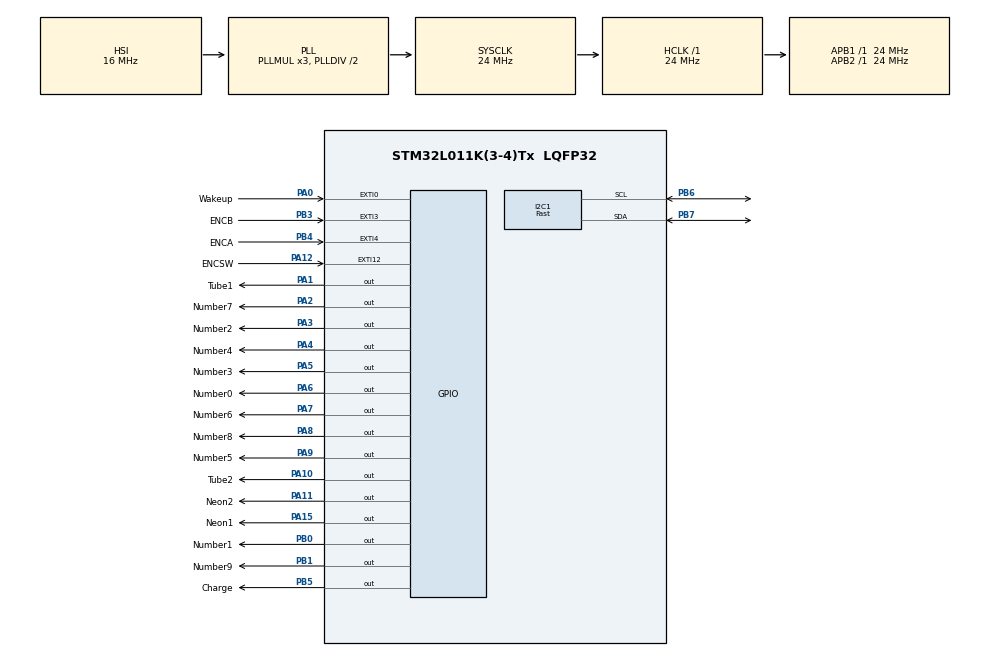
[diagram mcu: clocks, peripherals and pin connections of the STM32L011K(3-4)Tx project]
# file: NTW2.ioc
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I2C1.I2C_Speed_Mode=I2C_Fast
I2C1.Timing=0x00200C28
Mcu.Family=STM32L0
Mcu.Name=STM32L011K(3-4)Tx
Mcu.Package=LQFP32
NVIC.EXTI0_1_IRQn=true\:0\:0\:false\:false\:true\:true
NVIC.EXTI2_3_IRQn=true\:0\:0\:false\:false\:true\:true
NVIC.EXTI4_15_IRQn=true\:0\:0\:false\:false\:true\:true
NVIC.TIM21_IRQn=true\:0\:0\:false\:false\:true\:true
PA0-CK_IN.GPIO_Label=Wakeup
PA0-CK_IN.GPIO_PuPd=GPIO_PULLUP
PA0-CK_IN.Signal=GPXTI0
PA1.GPIO_Label=Tube1
PA1.GPIO_PuPd=GPIO_PULLDOWN
PA1.Signal=GPIO_Output
PA10.GPIO_Label=Tube2
PA10.GPIO_PuPd=GPIO_PULLDOWN
PA10.Signal=GPIO_Output
PA11.GPIO_Label=Neon2
PA11.GPIO_PuPd=GPIO_PULLDOWN
PA11.Signal=GPIO_Output
PA12.GPIO_Label=ENCSW
PA12.GPIO_ModeDefaultEXTI=GPIO_MODE_IT_RISING
PA12.Signal=GPXTI12
PA13.Mode=Serial_Wire
PA13.Signal=SYS_SWDIO
PA14.Mode=Serial_Wire
PA14.Signal=SYS_SWCLK
PA15.GPIO_Label=Neon1
PA15.Signal=GPIO_Output
PA2.GPIO_Label=Number7
PA2.GPIO_PuPd=GPIO_PULLDOWN
PA2.Signal=GPIO_Output
PA3.GPIO_Label=Number2
PA3.GPIO_PuPd=GPIO_PULLDOWN
PA3.Signal=GPIO_Output
PA4.GPIO_Label=Number4
PA4.GPIO_PuPd=GPIO_PULLDOWN
PA4.Signal=GPIO_Output
PA5.GPIO_Label=Number3
PA5.GPIO_PuPd=GPIO_PULLDOWN
PA5.Signal=GPIO_Output
PA6.GPIO_Label=Number0
PA6.GPIO_PuPd=GPIO_PULLDOWN
PA6.Signal=GPIO_Output
PA7.GPIO_Label=Number6
PA7.GPIO_PuPd=GPIO_PULLDOWN
PA7.Signal=GPIO_Output
PA8.GPIO_Label=Number8
PA8.GPIO_PuPd=GPIO_PULLDOWN
PA8.Signal=GPIO_Output
PA9.GPIO_Label=Number5
PA9.GPIO_PuPd=GPIO_PULLDOWN
PA9.Signal=GPIO_Output
PB0.GPIO_Label=Number1
PB0.GPIO_PuPd=GPIO_PULLDOWN
PB0.Signal=GPIO_Output
PB1.GPIO_Label=Number9
PB1.GPIO_PuPd=GPIO_PULLDOWN
PB1.Signal=GPIO_Output
PB3.GPIO_Label=ENCB
PB3.GPIO_ModeDefaultEXTI=GPIO_MODE_IT_RISING_FALLING
PB3.Signal=GPXTI3
PB4.GPIO_Label=ENCA
PB4.GPIO_ModeDefaultEXTI=GPIO_MODE_IT_RISING_FALLING
PB4.Signal=GPXTI4
PB5.GPIO_Label=Charge
PB5.Signal=GPIO_Output
PB6.Mode=I2C
PB6.Signal=I2C1_SCL
PB7.Mode=I2C
PB7.Signal=I2C1_SDA
PC14-OSC32_IN.Mode=LSE-External-Oscillator
PC14-OSC32_IN.Signal=RCC_OSC32_IN
PC15-OSC32_OUT.Mode=LSE-External-Oscillator
PC15-OSC32_OUT.Signal=RCC_OSC32_OUT
ProjectManager.HeapSize=0x200
ProjectManager.StackSize=0x400
ProjectManager.TargetToolchain=SW4STM32
RCC.AHBFreq_Value=24000000
RCC.APB1Freq_Value=24000000
RCC.APB1TimFreq_Value=24000000
RCC.APB2Freq_Value=24000000
RCC.APB2TimFreq_Value=24000000
RCC.HCLKFreq_Value=24000000
RCC.HSE_VALUE=8000000
RCC.HSI16_VALUE=16000000
RCC.HSI_VALUE=16000000
RCC.MSI_VALUE=2097000
RCC.RTCClockSelection=RCC_RTCCLKSOURCE_LSE
RCC.RTCClockSelectionVirtual=RCC_RTCCLKSOURCE_LSE
RCC.SYSCLKFreq_VALUE=24000000
RCC.SYSCLKSource=RCC_SYSCLKSOURCE_PLLCLK
RCC.VCOOutputFreq_Value=48000000
TIM21.Period=999
TIM21.Prescaler=24000
VP_RTC_VS_RTC_Activate.Mode=RTC_Enabled
VP_RTC_VS_RTC_Calendar.Mode=RTC_Calendar
VP_TIM21_VS_ClockSourceINT.Mode=Internal
board=NTW2

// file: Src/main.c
/**
  ******************************************************************************
  * @file           : main.c
  * @brief          : Main program body
  ******************************************************************************
  ** This notice applies to any and all portions of this file
  * that are not between comment pairs USER CODE BEGIN and
  * USER CODE END. Other portions of this file, whether
  * inserted by the user or by software development tools
  * are owned by their respective copyright owners.
  *
  * COPYRIGHT(c) 2019 STMicroelectronics
  *
  * Redistribution and use in source and binary forms, with or without modification,
  * are permitted provided that the following conditions are met:
  *   1. Redistributions of source code must retain the above copyright notice,
  *      this list of conditions and the following disclaimer.
  *   2. Redistributions in binary form must reproduce the above copyright notice,
  *      this list of conditions and the following disclaimer in the documentation
  *      and/or other materials provided with the distribution.
  *   3. Neither the name of STMicroelectronics nor the names of its contributors
  *      may be used to endorse or promote products derived from this software
  *      without specific prior written permission.
  *
  * THIS SOFTWARE IS PROVIDED BY THE COPYRIGHT HOLDERS AND CONTRIBUTORS "AS IS"
  * AND ANY EXPRESS OR IMPLIED WARRANTIES, INCLUDING, BUT NOT LIMITED TO, THE
  * IMPLIED WARRANTIES OF MERCHANTABILITY AND FITNESS FOR A PARTICULAR PURPOSE ARE
  * DISCLAIMED. IN NO EVENT SHALL THE COPYRIGHT HOLDER OR CONTRIBUTORS BE LIABLE
  * FOR ANY DIRECT, INDIRECT, INCIDENTAL, SPECIAL, EXEMPLARY, OR CONSEQUENTIAL
  * DAMAGES (INCLUDING, BUT NOT LIMITED TO, PROCUREMENT OF SUBSTITUTE GOODS OR
  * SERVICES; LOSS OF USE, DATA, OR PROFITS; OR BUSINESS INTERRUPTION) HOWEVER
  * CAUSED AND ON ANY THEORY OF LIABILITY, WHETHER IN CONTRACT, STRICT LIABILITY,
  * OR TORT (INCLUDING NEGLIGENCE OR OTHERWISE) ARISING IN ANY WAY OUT OF THE USE
  * OF THIS SOFTWARE, EVEN IF ADVISED OF THE POSSIBILITY OF SUCH DAMAGE.
  *
  ******************************************************************************
  */
#include "main.h"
#include "stm32l0xx_hal.h"

I2C_HandleTypeDef hi2c1;

RTC_HandleTypeDef hrtc;

TIM_HandleTypeDef htim21;

/* USER CODE BEGIN PV */
/* Private variables ---------------------------------------------------------*/
/* USER CODE BEGIN Includes */
uint8_t A_Flag = 0;
uint8_t B_Flag = 0;
uint8_t HM_Flag = 0;
uint8_t Display_State = 0;
uint8_t HMTicks = 0;
uint8_t seconds = 0;
uint8_t minutes = 0;
uint8_t hours = 12;
uint8_t tx_buffer[10];
uint8_t rx_buffer[10];
uint8_t acc_buffer[6];
uint8_t gyro_buffer[6];
uint8_t success;
uint8_t readIMU_Flag = 0;

volatile uint8_t numbers[10][10] = {
								{1, 0, 0, 0, 0, 0, 0, 0, 0, 0},
								{0, 1, 0, 0, 0, 0, 0, 0, 0, 0},
								{0, 0, 1, 0, 0, 0, 0, 0, 0, 0},
								{0, 0, 0, 1, 0, 0, 0, 0, 0, 0},
								{0, 0, 0, 0, 1, 0, 0, 0, 0, 0},
								{0, 0, 0, 0, 0, 1, 0, 0, 0, 0},
								{0, 0, 0, 0, 0, 0, 1, 0, 0, 0},
								{0, 0, 0, 0, 0, 0, 0, 1, 0, 0},
								{0, 0, 0, 0, 0, 0, 0, 0, 1, 0},
								{0, 0, 0, 0, 0, 0, 0, 0, 0, 1}
								};

struct tube {

	uint8_t NUM0;
	uint8_t NUM1;
	uint8_t NUM2;
	uint8_t NUM3;
	uint8_t NUM4;
	uint8_t NUM5;
	uint8_t NUM6;
	uint8_t NUM7;
	uint8_t NUM8;
	uint8_t NUM9;
};

struct tube tube1;	//initializes structs for tubes
struct tube tube2;

uint8_t sleep_flag = 0;
/* USER CODE END PV */

void SystemClock_Config(void);
static void MX_GPIO_Init(void);
static void MX_RTC_Init(void);
static void MX_I2C1_Init(void);
static void MX_TIM21_Init(void);

/* USER CODE BEGIN PFP */
/* Private function prototypes -----------------------------------------------*/
void update_time(void);
void update_tubes(void);
void update_display(void);
uint8_t accelerometer_initialization(void);
void enter_Standby(void);
uint8_t write_Reg(uint8_t Reg, uint8_t data);
uint8_t read_Reg(uint8_t Reg, uint8_t *data, uint16_t length);
/* USER CODE END PFP */

int main(void)
{

  /* MCU Configuration----------------------------------------------------------*/

  /* Reset of all peripherals, Initializes the Flash interface and the Systick. */
  HAL_Init();

  /* Configure the system clock */
  SystemClock_Config();

  /* Initialize all configured peripherals */
  MX_GPIO_Init();
  MX_RTC_Init();
  MX_I2C1_Init();
  MX_TIM21_Init();
  /* USER CODE BEGIN 2 */
  HAL_TIM_Base_Start_IT(&htim21);
  accelerometer_initialization();
  /* USER CODE END 2 */

  /* Infinite loop */
  while (1)
  {

  /* USER CODE BEGIN 3 */

	  update_tubes();
	  update_display();

	  if(sleep_flag == 1)
	  {
		  sleep_flag = 0;
		  enter_Standby();
	  }

	  if(readIMU_Flag == 1)
	  {
		  success = read_Reg(0x0C, &gyro_buffer[0], 6);	//reads gyro xx yy zz
		  HAL_Delay(20);
		  success = read_Reg(0x12, &acc_buffer[0], 6);	//reads accelerometer xx yy zz
		  HAL_Delay(20);
		  readIMU_Flag = 0;
	  }

  }
  /* USER CODE END 3 */

}

void SystemClock_Config(void)
{

  RCC_OscInitTypeDef RCC_OscInitStruct;
  RCC_ClkInitTypeDef RCC_ClkInitStruct;
  RCC_PeriphCLKInitTypeDef PeriphClkInit;

    /**Configure the main internal regulator output voltage
    */
  __HAL_PWR_VOLTAGESCALING_CONFIG(PWR_REGULATOR_VOLTAGE_SCALE1);

    /**Configure LSE Drive Capability
    */
  HAL_PWR_EnableBkUpAccess();

  __HAL_RCC_LSEDRIVE_CONFIG(RCC_LSEDRIVE_LOW);

    /**Initializes the CPU, AHB and APB busses clocks
    */
  RCC_OscInitStruct.OscillatorType = RCC_OSCILLATORTYPE_HSI|RCC_OSCILLATORTYPE_LSE;
  RCC_OscInitStruct.LSEState = RCC_LSE_ON;
  RCC_OscInitStruct.HSIState = RCC_HSI_ON;
  RCC_OscInitStruct.HSICalibrationValue = 16;
  RCC_OscInitStruct.PLL.PLLState = RCC_PLL_ON;
  RCC_OscInitStruct.PLL.PLLSource = RCC_PLLSOURCE_HSI;
  RCC_OscInitStruct.PLL.PLLMUL = RCC_PLLMUL_3;
  RCC_OscInitStruct.PLL.PLLDIV = RCC_PLLDIV_2;
  if (HAL_RCC_OscConfig(&RCC_OscInitStruct) != HAL_OK)
  {
    _Error_Handler(__FILE__, __LINE__);
  }

    /**Initializes the CPU, AHB and APB busses clocks
    */
  RCC_ClkInitStruct.ClockType = RCC_CLOCKTYPE_HCLK|RCC_CLOCKTYPE_SYSCLK
                              |RCC_CLOCKTYPE_PCLK1|RCC_CLOCKTYPE_PCLK2;
  RCC_ClkInitStruct.SYSCLKSource = RCC_SYSCLKSOURCE_PLLCLK;
  RCC_ClkInitStruct.AHBCLKDivider = RCC_SYSCLK_DIV1;
  RCC_ClkInitStruct.APB1CLKDivider = RCC_HCLK_DIV1;
  RCC_ClkInitStruct.APB2CLKDivider = RCC_HCLK_DIV1;

  if (HAL_RCC_ClockConfig(&RCC_ClkInitStruct, FLASH_LATENCY_1) != HAL_OK)
  {
    _Error_Handler(__FILE__, __LINE__);
  }

  PeriphClkInit.PeriphClockSelection = RCC_PERIPHCLK_I2C1|RCC_PERIPHCLK_RTC;
  PeriphClkInit.I2c1ClockSelection = RCC_I2C1CLKSOURCE_PCLK1;
  PeriphClkInit.RTCClockSelection = RCC_RTCCLKSOURCE_LSE;
  if (HAL_RCCEx_PeriphCLKConfig(&PeriphClkInit) != HAL_OK)
  {
    _Error_Handler(__FILE__, __LINE__);
  }

    /**Configure the Systick interrupt time
    */
  HAL_SYSTICK_Config(HAL_RCC_GetHCLKFreq()/1000);

    /**Configure the Systick
    */
  HAL_SYSTICK_CLKSourceConfig(SYSTICK_CLKSOURCE_HCLK);

  /* SysTick_IRQn interrupt configuration */
  HAL_NVIC_SetPriority(SysTick_IRQn, 0, 0);
}

/* I2C1 init function */
static void MX_I2C1_Init(void)
{

  hi2c1.Instance = I2C1;
  hi2c1.Init.Timing = 0x00200C28;
  hi2c1.Init.OwnAddress1 = 0;
  hi2c1.Init.AddressingMode = I2C_ADDRESSINGMODE_7BIT;
  hi2c1.Init.DualAddressMode = I2C_DUALADDRESS_DISABLE;
  hi2c1.Init.OwnAddress2 = 0;
  hi2c1.Init.OwnAddress2Masks = I2C_OA2_NOMASK;
  hi2c1.Init.GeneralCallMode = I2C_GENERALCALL_DISABLE;
  hi2c1.Init.NoStretchMode = I2C_NOSTRETCH_DISABLE;
  if (HAL_I2C_Init(&hi2c1) != HAL_OK)
  {
    _Error_Handler(__FILE__, __LINE__);
  }

    /**Configure Analogue filter
    */
  if (HAL_I2CEx_ConfigAnalogFilter(&hi2c1, I2C_ANALOGFILTER_ENABLE) != HAL_OK)
  {
    _Error_Handler(__FILE__, __LINE__);
  }

    /**Configure Digital filter
    */
  if (HAL_I2CEx_ConfigDigitalFilter(&hi2c1, 0) != HAL_OK)
  {
    _Error_Handler(__FILE__, __LINE__);
  }

}

/* RTC init function */
static void MX_RTC_Init(void)
{

  RTC_TimeTypeDef sTime;
  RTC_DateTypeDef sDate;

    /**Initialize RTC Only
    */
  hrtc.Instance = RTC;
if(HAL_RTCEx_BKUPRead(&hrtc, RTC_BKP_DR0) != 0x32F2){
  hrtc.Init.HourFormat = RTC_HOURFORMAT_24;
  hrtc.Init.AsynchPrediv = 127;
  hrtc.Init.SynchPrediv = 255;
  hrtc.Init.OutPut = RTC_OUTPUT_DISABLE;
  hrtc.Init.OutPutRemap = RTC_OUTPUT_REMAP_NONE;
  hrtc.Init.OutPutPolarity = RTC_OUTPUT_POLARITY_HIGH;
  hrtc.Init.OutPutType = RTC_OUTPUT_TYPE_OPENDRAIN;
  if (HAL_RTC_Init(&hrtc) != HAL_OK)
  {
    _Error_Handler(__FILE__, __LINE__);
  }

    /**Initialize RTC and set the Time and Date
    */
  sTime.Hours = 0x0;
  sTime.Minutes = 0x0;
  sTime.Seconds = 0x0;
  sTime.DayLightSaving = RTC_DAYLIGHTSAVING_NONE;
  sTime.StoreOperation = RTC_STOREOPERATION_RESET;
  if (HAL_RTC_SetTime(&hrtc, &sTime, RTC_FORMAT_BCD) != HAL_OK)
  {
    _Error_Handler(__FILE__, __LINE__);
  }

  sDate.WeekDay = RTC_WEEKDAY_MONDAY;
  sDate.Month = RTC_MONTH_JANUARY;
  sDate.Date = 0x1;
  sDate.Year = 0x0;

  if (HAL_RTC_SetDate(&hrtc, &sDate, RTC_FORMAT_BCD) != HAL_OK)
  {
    _Error_Handler(__FILE__, __LINE__);
  }

    HAL_RTCEx_BKUPWrite(&hrtc,RTC_BKP_DR0,0x32F2);
  }

}

/* TIM21 init function */
static void MX_TIM21_Init(void)
{

  TIM_ClockConfigTypeDef sClockSourceConfig;
  TIM_MasterConfigTypeDef sMasterConfig;

  htim21.Instance = TIM21;
  htim21.Init.Prescaler = 24000;
  htim21.Init.CounterMode = TIM_COUNTERMODE_UP;
  htim21.Init.Period = 999;
  htim21.Init.ClockDivision = TIM_CLOCKDIVISION_DIV1;
  if (HAL_TIM_Base_Init(&htim21) != HAL_OK)
  {
    _Error_Handler(__FILE__, __LINE__);
  }

  sClockSourceConfig.ClockSource = TIM_CLOCKSOURCE_INTERNAL;
  if (HAL_TIM_ConfigClockSource(&htim21, &sClockSourceConfig) != HAL_OK)
  {
    _Error_Handler(__FILE__, __LINE__);
  }

  sMasterConfig.MasterOutputTrigger = TIM_TRGO_RESET;
  sMasterConfig.MasterSlaveMode = TIM_MASTERSLAVEMODE_DISABLE;
  if (HAL_TIMEx_MasterConfigSynchronization(&htim21, &sMasterConfig) != HAL_OK)
  {
    _Error_Handler(__FILE__, __LINE__);
  }

}

/** Configure pins as
        * Analog
        * Input
        * Output
        * EVENT_OUT
        * EXTI
*/
static void MX_GPIO_Init(void)
{

  GPIO_InitTypeDef GPIO_InitStruct;

  /* GPIO Ports Clock Enable */
  __HAL_RCC_GPIOC_CLK_ENABLE();
  __HAL_RCC_GPIOA_CLK_ENABLE();
  __HAL_RCC_GPIOB_CLK_ENABLE();

  /*Configure GPIO pin Output Level */
  HAL_GPIO_WritePin(GPIOA, Tube1_Pin|Number7_Pin|Number2_Pin|Number4_Pin
                          |Number3_Pin|Number0_Pin|Number6_Pin|Number8_Pin
                          |Number5_Pin|Tube2_Pin|Neon2_Pin|Neon1_Pin, GPIO_PIN_RESET);

  /*Configure GPIO pin Output Level */
  HAL_GPIO_WritePin(GPIOB, Number1_Pin|Number9_Pin|Charge_Pin, GPIO_PIN_RESET);

  /*Configure GPIO pin : Wakeup_Pin */
  GPIO_InitStruct.Pin = Wakeup_Pin;
  GPIO_InitStruct.Mode = GPIO_MODE_IT_RISING;
  GPIO_InitStruct.Pull = GPIO_PULLUP;
  HAL_GPIO_Init(Wakeup_GPIO_Port, &GPIO_InitStruct);

  /*Configure GPIO pins : Tube1_Pin Number7_Pin Number2_Pin Number4_Pin
                           Number3_Pin Number0_Pin Number6_Pin Number8_Pin
                           Number5_Pin Tube2_Pin Neon2_Pin */
  GPIO_InitStruct.Pin = Tube1_Pin|Number7_Pin|Number2_Pin|Number4_Pin
                          |Number3_Pin|Number0_Pin|Number6_Pin|Number8_Pin
                          |Number5_Pin|Tube2_Pin|Neon2_Pin;
  GPIO_InitStruct.Mode = GPIO_MODE_OUTPUT_PP;
  GPIO_InitStruct.Pull = GPIO_PULLDOWN;
  GPIO_InitStruct.Speed = GPIO_SPEED_FREQ_LOW;
  HAL_GPIO_Init(GPIOA, &GPIO_InitStruct);

  /*Configure GPIO pins : Number1_Pin Number9_Pin */
  GPIO_InitStruct.Pin = Number1_Pin|Number9_Pin;
  GPIO_InitStruct.Mode = GPIO_MODE_OUTPUT_PP;
  GPIO_InitStruct.Pull = GPIO_PULLDOWN;
  GPIO_InitStruct.Speed = GPIO_SPEED_FREQ_LOW;
  HAL_GPIO_Init(GPIOB, &GPIO_InitStruct);

  /*Configure GPIO pin : ENCSW_Pin */
  GPIO_InitStruct.Pin = ENCSW_Pin;
  GPIO_InitStruct.Mode = GPIO_MODE_IT_RISING;
  GPIO_InitStruct.Pull = GPIO_NOPULL;
  HAL_GPIO_Init(ENCSW_GPIO_Port, &GPIO_InitStruct);

  /*Configure GPIO pin : Neon1_Pin */
  GPIO_InitStruct.Pin = Neon1_Pin;
  GPIO_InitStruct.Mode = GPIO_MODE_OUTPUT_PP;
  GPIO_InitStruct.Pull = GPIO_NOPULL;
  GPIO_InitStruct.Speed = GPIO_SPEED_FREQ_LOW;
  HAL_GPIO_Init(Neon1_GPIO_Port, &GPIO_InitStruct);

  /*Configure GPIO pins : ENCB_Pin ENCA_Pin */
  GPIO_InitStruct.Pin = ENCB_Pin|ENCA_Pin;
  GPIO_InitStruct.Mode = GPIO_MODE_IT_RISING_FALLING;
  GPIO_InitStruct.Pull = GPIO_NOPULL;
  HAL_GPIO_Init(GPIOB, &GPIO_InitStruct);

  /*Configure GPIO pin : Charge_Pin */
  GPIO_InitStruct.Pin = Charge_Pin;
  GPIO_InitStruct.Mode = GPIO_MODE_OUTPUT_PP;
  GPIO_InitStruct.Pull = GPIO_NOPULL;
  GPIO_InitStruct.Speed = GPIO_SPEED_FREQ_LOW;
  HAL_GPIO_Init(Charge_GPIO_Port, &GPIO_InitStruct);

  /* EXTI interrupt init*/
  HAL_NVIC_SetPriority(EXTI0_1_IRQn, 0, 0);
  HAL_NVIC_EnableIRQ(EXTI0_1_IRQn);

  HAL_NVIC_SetPriority(EXTI2_3_IRQn, 0, 0);
  HAL_NVIC_EnableIRQ(EXTI2_3_IRQn);

  HAL_NVIC_SetPriority(EXTI4_15_IRQn, 0, 0);
  HAL_NVIC_EnableIRQ(EXTI4_15_IRQn);

}

/* USER CODE BEGIN 4 */
void HAL_TIM_PeriodElapsedCallback(TIM_HandleTypeDef *htim)
{
	static uint8_t toggle = 0;
	static uint8_t sleepTicks = 0;
	update_time();

	if (htim->Instance == TIM21)
	{

		if (Display_State == 1){
			sleepTicks++;	//"timer" to go back to sleep after wakeup just to view time
		}
		else{
			sleepTicks = 0;
		}

		if(Display_State == 1){

			toggle++;

			if(toggle >= 2){		//switch back and forth between hours and minutes in the
				HM_Flag = !HM_Flag;
				toggle = 0;
			}

			if(sleepTicks >= 20){	//implementation of sleep timer
				sleep_flag = 1;
				HAL_GPIO_WritePin(GPIOB, Charge_Pin, 0);
				Display_State = 0;
				sleepTicks = 0;
			}
		}

	}
}

void HAL_GPIO_EXTI_Callback(uint16_t GPIO_Pin)
{
	static volatile uint8_t A_Flag = 0;
	static volatile uint8_t B_Flag = 0;
	static volatile uint8_t A_Previous = 0;
	static volatile uint8_t B_Previous = 0;
	RTC_TimeTypeDef sTimeSet;

    if (GPIO_Pin == ENCSW_Pin)
    {
    	Display_State++;
    }

	if(Display_State == 1){			//display hours and minutes
		HAL_GPIO_WritePin(GPIOB, Charge_Pin, 1);
	}
	else if(Display_State == 2){	//set hours
		HAL_GPIO_WritePin(GPIOB, Charge_Pin, 1);
		HM_Flag = 1;
	}
	else if(Display_State == 3){	//set minutes
		HAL_GPIO_WritePin(GPIOB, Charge_Pin, 1);
		HM_Flag = 0;
	}
	else{							//tubes off, MCU asleep
		Display_State = 0;
		HAL_GPIO_WritePin(GPIOB, Charge_Pin, 0);
		sleep_flag = 1;
	}

    if (Display_State != 1 && Display_State != 0){
		if (GPIO_Pin == ENCA_Pin)
		{
			A_Flag = HAL_GPIO_ReadPin(GPIOB, ENCA_Pin);

			if (A_Flag == 0 && B_Flag == 1 && A_Previous == 1 && B_Previous == 0){

				if(Display_State == 2){
					hours--;
					if(hours < 1){
						hours = 12;
					}
				}else if(Display_State == 3){
					if(minutes == 0){
						minutes = 60;	//just a quick hack to deal with not going negative
					}
					minutes--;
					if(minutes < 0){
						minutes = 59;
					}
				}else{
					//do nothing
				}

			}
			else if (A_Flag == 1 && B_Flag == 0 && A_Previous == 0 && B_Previous == 1){

				if(Display_State == 2){
					hours--;
					if(hours < 1){	//23
						hours = 12;	//23
					}
				}else if(Display_State == 3){
					if(minutes == 0){
						minutes = 60;	//just a quick hack to deal with not going negative
					}
					minutes--;
					if(minutes < 0){
						minutes = 59;
					}
				}else{
					//do nothing
				}
			}
			else if (A_Flag == 1 && B_Flag == 1 && A_Previous == 0 && B_Previous == 0){

				if(Display_State == 2){
					hours++;
					if(hours > 12){
						hours = 1;
					}
				}else if(Display_State == 3){
					minutes++;
					if(minutes > 59){
						minutes = 0;
					}
				}else{
					//do nothing
				}

			}
			else if (A_Flag == 0 && B_Flag == 0 && A_Previous == 1 && B_Previous == 1){

				if(Display_State == 2){
					hours++;
					if(hours > 12){
						hours = 1;
					}
				}else if(Display_State == 3){
					minutes++;
					if(minutes > 59){
						minutes = 0;
					}
				}else{
					//do nothing
				}
			}

			A_Previous = A_Flag;
			B_Previous = B_Flag;
			sTimeSet.Seconds = 0;
			sTimeSet.Minutes = minutes;
			sTimeSet.Hours = hours;
			HAL_RTC_SetTime(&hrtc, &sTimeSet, RTC_FORMAT_BIN);
		}
    }

    if (GPIO_Pin == ENCB_Pin)
    {
    	B_Flag = HAL_GPIO_ReadPin(GPIOB, ENCB_Pin);
    	if (A_Flag == 1 && B_Flag == 0 && A_Previous == 0 && B_Previous == 1){

    	}
    	else if (A_Flag == 0 && B_Flag == 0 && A_Previous == 1 && B_Previous == 1){

    	}
    }

}

void update_tubes(void)
{

	if(HM_Flag == 0){

		tube2.NUM0 = numbers[0][minutes%10];	//output values are that of the array in the minutes%10 position
		tube2.NUM1 = numbers[1][minutes%10];
		tube2.NUM2 = numbers[2][minutes%10];
		tube2.NUM3 = numbers[3][minutes%10];
		tube2.NUM4 = numbers[4][minutes%10];
		tube2.NUM5 = numbers[5][minutes%10];
		tube2.NUM6 = numbers[6][minutes%10];
		tube2.NUM7 = numbers[7][minutes%10];
		tube2.NUM8 = numbers[8][minutes%10];
		tube2.NUM9 = numbers[9][minutes%10];

		tube1.NUM0 = numbers[0][minutes/10];
		tube1.NUM1 = numbers[1][minutes/10];
		tube1.NUM2 = numbers[2][minutes/10];
		tube1.NUM3 = numbers[3][minutes/10];
		tube1.NUM4 = numbers[4][minutes/10];
		tube1.NUM5 = numbers[5][minutes/10];
		tube1.NUM6 = numbers[6][minutes/10];
		tube1.NUM7 = numbers[7][minutes/10];
		tube1.NUM8 = numbers[8][minutes/10];
		tube1.NUM9 = numbers[9][minutes/10];

		HAL_GPIO_WritePin(GPIOA, Neon2_Pin, 1);
		HAL_GPIO_WritePin(GPIOA, Neon1_Pin, 0);
	}
	else{

		tube2.NUM0 = numbers[0][hours%10];
		tube2.NUM1 = numbers[1][hours%10];
		tube2.NUM2 = numbers[2][hours%10];
		tube2.NUM3 = numbers[3][hours%10];
		tube2.NUM4 = numbers[4][hours%10];
		tube2.NUM5 = numbers[5][hours%10];
		tube2.NUM6 = numbers[6][hours%10];
		tube2.NUM7 = numbers[7][hours%10];
		tube2.NUM8 = numbers[8][hours%10];
		tube2.NUM9 = numbers[9][hours%10];

		tube1.NUM0 = numbers[0][hours/10];	//multiplexer values is that of the array in that location
		tube1.NUM1 = numbers[1][hours/10];
		tube1.NUM2 = numbers[2][hours/10];
		tube1.NUM3 = numbers[3][hours/10];
		tube1.NUM4 = numbers[4][hours/10];
		tube1.NUM5 = numbers[5][hours/10];
		tube1.NUM6 = numbers[6][hours/10];
		tube1.NUM7 = numbers[7][hours/10];
		tube1.NUM8 = numbers[8][hours/10];
		tube1.NUM9 = numbers[9][hours/10];

		HAL_GPIO_WritePin(GPIOA, Neon1_Pin, 1);
		HAL_GPIO_WritePin(GPIOA, Neon2_Pin, 0);
	}
}

void update_display(void)
{
	HAL_GPIO_WritePin(GPIOA, Tube2_Pin, 0);
	HAL_GPIO_WritePin(GPIOA, Tube1_Pin, 1);
	HAL_GPIO_WritePin(GPIOA, Number0_Pin, tube1.NUM0);
	HAL_GPIO_WritePin(GPIOB, Number1_Pin, tube1.NUM1);
	HAL_GPIO_WritePin(GPIOA, Number2_Pin, tube1.NUM2);
	HAL_GPIO_WritePin(GPIOA, Number3_Pin, tube1.NUM3);
	HAL_GPIO_WritePin(GPIOA, Number4_Pin, tube1.NUM4);
	HAL_GPIO_WritePin(GPIOA, Number5_Pin, tube1.NUM5);
	HAL_GPIO_WritePin(GPIOA, Number6_Pin, tube1.NUM6);
	HAL_GPIO_WritePin(GPIOA, Number7_Pin, tube1.NUM7);
	HAL_GPIO_WritePin(GPIOA, Number8_Pin, tube1.NUM8);
	HAL_GPIO_WritePin(GPIOB, Number9_Pin, tube1.NUM9);
	HAL_Delay(4);

	HAL_GPIO_WritePin(GPIOA, Tube1_Pin, 0);
	HAL_GPIO_WritePin(GPIOA, Tube2_Pin, 1);
	HAL_GPIO_WritePin(GPIOA, Number0_Pin, tube2.NUM0);
	HAL_GPIO_WritePin(GPIOB, Number1_Pin, tube2.NUM1);
	HAL_GPIO_WritePin(GPIOA, Number2_Pin, tube2.NUM2);
	HAL_GPIO_WritePin(GPIOA, Number3_Pin, tube2.NUM3);
	HAL_GPIO_WritePin(GPIOA, Number4_Pin, tube2.NUM4);
	HAL_GPIO_WritePin(GPIOA, Number5_Pin, tube2.NUM5);
	HAL_GPIO_WritePin(GPIOA, Number6_Pin, tube2.NUM6);
	HAL_GPIO_WritePin(GPIOA, Number7_Pin, tube2.NUM7);
	HAL_GPIO_WritePin(GPIOA, Number8_Pin, tube2.NUM8);
	HAL_GPIO_WritePin(GPIOB, Number9_Pin, tube2.NUM9);
	HAL_Delay(4);

}

void update_time(void)
{
	RTC_TimeTypeDef sTimeGet;
	RTC_TimeTypeDef sTimeSet;
	HAL_RTC_GetTime(&hrtc, &sTimeGet, RTC_FORMAT_BIN);
	seconds = sTimeGet.Seconds;
	minutes = sTimeGet.Minutes;
	hours = sTimeGet.Hours;

	if(hours>12){
		hours = 0;
		sTimeSet.Hours = hours;
		HAL_RTC_SetTime(&hrtc, &sTimeSet, RTC_FORMAT_BIN);
	}
}

uint8_t write_Reg(uint8_t Reg, uint8_t data)
{
	static uint8_t IMUAddress = 0b01101000;
	uint8_t packet[2] = {0};
	packet[0] = Reg;
	packet[1] = data;

	if(HAL_I2C_Master_Transmit(&hi2c1, IMUAddress<<1, packet, 2, 100) != HAL_OK)
	{
		return 0;
	}

	return 1;
}

uint8_t read_Reg(uint8_t Reg, uint8_t *data, uint16_t length)
{
	static uint8_t IMUAddress = 0b01101000;
	if(HAL_I2C_Master_Transmit(&hi2c1, IMUAddress<<1, &Reg, 1, 100) != HAL_OK)
	{
		return 0;
	}
	if(HAL_I2C_Master_Receive(&hi2c1, IMUAddress<<1, data, length, 100) != HAL_OK)
	{
		return 0;
	}
	return 1;

}

uint8_t accelerometer_initialization(void){

	uint8_t acc_pwr = 0x11;
	write_Reg(0x7E, acc_pwr);	//put acc into normal mode
	HAL_Delay(100);

	uint8_t gyro_pwr = 0x15;
	write_Reg(0x7E, gyro_pwr);	//put gyro into normal mode
	HAL_Delay(100);

	/*uint8_t mag_pwr = 0x18;	//put mag into normal mode
	write_Reg(0x7E, mag_pwr);
	HAL_Delay(100);*/

	write_Reg(0x40, 0x28);	//acc config
	HAL_Delay(100);

	write_Reg(0x41, 0x03);	//acc range
	HAL_Delay(100);

	write_Reg(0x42, 0x28);	//gyro config
	HAL_Delay(100);

	write_Reg(0x43, 0x03);	//gyro range
	HAL_Delay(100);

	write_Reg(0x75, 0xFF);	//gyro yy offset
	HAL_Delay(100);

	write_Reg(0x76, 0xFF);	//gyro zz offset
	HAL_Delay(100);

	read_Reg(0x03, &rx_buffer[1], 1);	//read PMU register
	HAL_Delay(100);

	write_Reg(0x50, 0x04);	//sets anymotion z enabled
	HAL_Delay(100);

	write_Reg(0x53, 0x08);	//sets INT1 enabled and active lo
	HAL_Delay(100);

	write_Reg(0x55, 0x04);	//sets INT1 to any motion/significant motion
	HAL_Delay(100);

	write_Reg(0x5F, 0x01);	//sets INT Motion[0] any motion trigger to 2 samples over threshold
	HAL_Delay(100);

	write_Reg(0x60, 0xFF);	//sets anymotion acc to trigger on ~1G
	HAL_Delay(100);

	write_Reg(0x69, 0x40);	//enables fast offset compensation for gyro
	HAL_Delay(100);

	return 1;

}

void enter_Standby( void )
{
    /* Enable Clocks */
    //RCC->APB1ENR |= RCC_APB1ENR_PWREN;

    /* Prepare for Standby */
    // if WKUP pins are already high, the WUF bit will be set
    //PWR->CSR |= PWR_CSR_EWUP1 | PWR_CSR_EWUP2;

    //PWR->CR |= PWR_CR_CWUF; // clear the WUF flag after 2 clock cycles
    //PWR->CR |= PWR_CR_ULP;   // V_{REFINT} is off in low-power mode
    //PWR->CR |= PWR_CR_PDDS; // Enter Standby mode when the CPU enters deepsleep

    //SCB->SCR |= SCB_SCR_SLEEPDEEP_Msk; // low-power mode = stop mode
    //SCB->SCR |= SCB_SCR_SLEEPONEXIT_Msk; // reenter low-power mode after ISR
    //__WFI(); // enter low-power mode

	HAL_PWR_DisableSleepOnExit();
    HAL_PWR_EnterSLEEPMode(PWR_LOWPOWERREGULATOR_ON, PWR_SLEEPENTRY_WFI);

}
/* USER CODE END 4 */

void _Error_Handler(char *file, int line)
{
  while(1)
  {
  }
}

/************************ (C) COPYRIGHT STMicroelectronics *****END OF FILE****/
